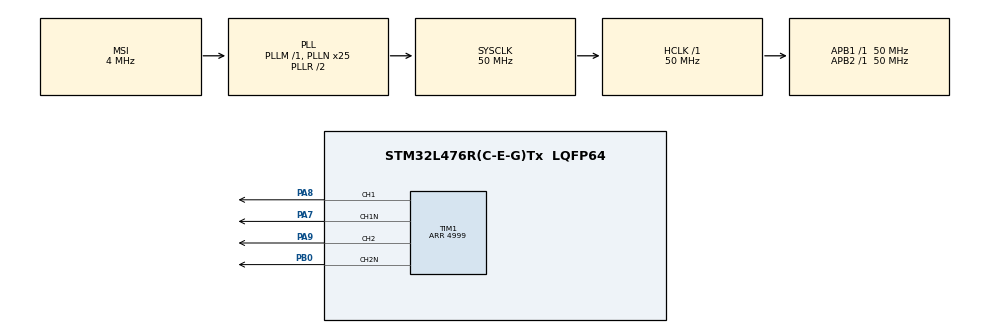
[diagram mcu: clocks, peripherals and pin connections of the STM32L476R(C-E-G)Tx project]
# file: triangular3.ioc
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Mcu.Family=STM32L4
Mcu.Name=STM32L476R(C-E-G)Tx
Mcu.Package=LQFP64
NVIC.PriorityGroup=NVIC_PRIORITYGROUP_4
NVIC.TIM1_UP_TIM16_IRQn=true\:0\:0\:false\:false\:true\:true\:true\:true
PA7.Mode=PWM Generation1 CH1 CH1N
PA7.Signal=TIM1_CH1N
PA8.Signal=S_TIM1_CH1
PA9.Signal=S_TIM1_CH2
PB0.Mode=PWM Generation2 CH2 CH2N
PB0.Signal=TIM1_CH2N
ProjectManager.HeapSize=0x200
ProjectManager.StackSize=0x400
ProjectManager.TargetToolchain=STM32CubeIDE
RCC.ADCFreq_Value=16000000
RCC.AHBFreq_Value=50000000
RCC.APB1Freq_Value=50000000
RCC.APB1TimFreq_Value=50000000
RCC.APB2Freq_Value=50000000
RCC.APB2TimFreq_Value=50000000
RCC.CortexFreq_Value=50000000
RCC.HCLKFreq_Value=50000000
RCC.HSE_VALUE=8000000
RCC.HSI_VALUE=16000000
RCC.LSE_VALUE=32768
RCC.MSI_VALUE=4000000
RCC.PLLN=25
RCC.SYSCLKFreq_VALUE=50000000
RCC.SYSCLKSource=RCC_SYSCLKSOURCE_PLLCLK
RCC.USBFreq_Value=16000000
RCC.VCOOutputFreq_Value=100000000
SH.S_TIM1_CH1.0=TIM1_CH1,PWM Generation1 CH1 CH1N
SH.S_TIM1_CH2.0=TIM1_CH2,PWM Generation2 CH2 CH2N
TIM1.Channel-PWM\ Generation1\ CH1\ CH1N=TIM_CHANNEL_1
TIM1.Channel-PWM\ Generation2\ CH2\ CH2N=TIM_CHANNEL_2
TIM1.DeadTime=50
TIM1.Period=4999
TIM1.TIM_MasterOutputTrigger=TIM_TRGO_UPDATE
TIM1.TIM_MasterOutputTrigger2=TIM_TRGO2_UPDATE
VP_TIM1_VS_ClockSourceINT.Mode=Internal
board=NUCLEO-L476RG

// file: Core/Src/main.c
/* USER CODE BEGIN Header */
/**
 ******************************************************************************
 * @file           : main.c
 * @brief          : Main program body
 ******************************************************************************
 * @attention
 *
 * Copyright (c) 2025 STMicroelectronics.
 * All rights reserved.
 *
 * This software is licensed under terms that can be found in the LICENSE file
 * in the root directory of this software component.
 * If no LICENSE file comes with this software, it is provided AS-IS.
 *
 ******************************************************************************
 */
/* USER CODE END Header */
#include "main.h"

/* USER CODE BEGIN Includes */

/* Variables */

/* USER CODE END Includes */

TIM_HandleTypeDef htim1;

/* USER CODE BEGIN PV */
// To store received char via interrupt
/* USER CODE END PV */

void SystemClock_Config(void);
static void MX_GPIO_Init(void);
static void MX_TIM1_Init(void);

/* USER CODE BEGIN 0 */
void HAL_TIM_PeriodElapsedCallback(TIM_HandleTypeDef *htim)
{
	static uint8_t channel = 1;
	static uint8_t first_run = 1;
	static uint16_t ccr1 = 0;
	static uint16_t ccr2 = 0;
	static int8_t direction1 = 1;
	static int8_t direction2 = 1;

	if (htim->Instance == TIM1)
	{
		// Handle the first run
		if (first_run && ccr1 == 0 && channel == 1)
		{
			// Stop Channel 1
			__HAL_TIM_SET_COMPARE(&htim1, TIM_CHANNEL_1, 0);

			// Start Channel 2
			HAL_TIM_PWM_Start(&htim1, TIM_CHANNEL_2);
			HAL_TIMEx_PWMN_Start(&htim1, TIM_CHANNEL_2);

			// Ensure MOE is enabled after channel switch
			__HAL_TIM_MOE_ENABLE(&htim1);

			channel = 2;
			direction2 = 1; // Start ascending for Channel 2
			first_run = 0; // Clear first run flag
		}

		// Update ccr values based on active channel
		if (channel == 1)
		{
			ccr1 += direction1;

			// Handle upper limit for Channel 1
			if (ccr1 >= 4999)
			{
				ccr1 = 4999;
				direction1 = -1; // Start descending
			}
			// Handle lower limit for Channel 1
			else if (ccr1 <= 0)
			{
				ccr1 = 0;
				direction1 = 1; // Start ascending

				// Set Channel 1 to 0 and switch to Channel 2
				__HAL_TIM_SET_COMPARE(&htim1, TIM_CHANNEL_1, 0);
				HAL_TIM_PWM_Start(&htim1, TIM_CHANNEL_2);
				HAL_TIMEx_PWMN_Start(&htim1, TIM_CHANNEL_2);

				channel = 2;
				// Ensure MOE is enabled after channel switch
				__HAL_TIM_MOE_ENABLE(&htim1);
			}
			else
			{
				// Update Channel 1 compare value
				__HAL_TIM_SET_COMPARE(&htim1, TIM_CHANNEL_1, ccr1);
			}
		}
		else // channel == 2
		{
			ccr2 += direction2;

			// Handle upper limit for Channel 2
			if (ccr2 >= 4999)
			{
				ccr2 = 4999;
				direction2 = -1; // Start descending
			}
			// Handle lower limit for Channel 2
			else if (ccr2 <= 0)
			{
				ccr2 = 0;
				direction2 = 1; // Start ascending

				// Set Channel 2 to 0 and switch to Channel 1
				__HAL_TIM_SET_COMPARE(&htim1, TIM_CHANNEL_2, 0);
				HAL_TIM_PWM_Start(&htim1, TIM_CHANNEL_1);
				HAL_TIMEx_PWMN_Start(&htim1, TIM_CHANNEL_1);

				channel = 1;

				// Ensure MOE is enabled after channel switch
				__HAL_TIM_MOE_ENABLE(&htim1);
			}
			else
			{
				// Update Channel 2 compare value
				__HAL_TIM_SET_COMPARE(&htim1, TIM_CHANNEL_2, ccr2);
			}
		}
	}
}

/* USER CODE END 0 */

int main(void)
{

	/* MCU Configuration--------------------------------------------------------*/

	/* Reset of all peripherals, Initializes the Flash interface and the Systick. */
	HAL_Init();

	/* Configure the system clock */
	SystemClock_Config();

	/* Initialize all configured peripherals */
	MX_GPIO_Init();
	MX_TIM1_Init();
	/* USER CODE BEGIN 2 */
	__HAL_TIM_MOE_ENABLE(&htim1);
	HAL_TIM_PWM_Start(&htim1, TIM_CHANNEL_1);     // Start PWM output
	HAL_TIMEx_PWMN_Start(&htim1, TIM_CHANNEL_1);
	HAL_TIM_Base_Start_IT(&htim1);
	/* USER CODE END 2 */

	/* Infinite loop */
	while (1)
	{

	}
}

void SystemClock_Config(void) {
	RCC_OscInitTypeDef RCC_OscInitStruct = { 0 };
	RCC_ClkInitTypeDef RCC_ClkInitStruct = { 0 };

	/** Configure the main internal regulator output voltage
	 */
	if (HAL_PWREx_ControlVoltageScaling(PWR_REGULATOR_VOLTAGE_SCALE1)
			!= HAL_OK) {
		Error_Handler();
	}

	/** Initializes the RCC Oscillators according to the specified parameters
	 * in the RCC_OscInitTypeDef structure.
	 */
	RCC_OscInitStruct.OscillatorType = RCC_OSCILLATORTYPE_MSI;
	RCC_OscInitStruct.MSIState = RCC_MSI_ON;
	RCC_OscInitStruct.MSICalibrationValue = 0;
	RCC_OscInitStruct.MSIClockRange = RCC_MSIRANGE_6;
	RCC_OscInitStruct.PLL.PLLState = RCC_PLL_ON;
	RCC_OscInitStruct.PLL.PLLSource = RCC_PLLSOURCE_MSI;
	RCC_OscInitStruct.PLL.PLLM = 1;
	RCC_OscInitStruct.PLL.PLLN = 25;
	RCC_OscInitStruct.PLL.PLLP = RCC_PLLP_DIV7;
	RCC_OscInitStruct.PLL.PLLQ = RCC_PLLQ_DIV2;
	RCC_OscInitStruct.PLL.PLLR = RCC_PLLR_DIV2;
	if (HAL_RCC_OscConfig(&RCC_OscInitStruct) != HAL_OK) {
		Error_Handler();
	}

	/** Initializes the CPU, AHB and APB buses clocks
	 */
	RCC_ClkInitStruct.ClockType = RCC_CLOCKTYPE_HCLK | RCC_CLOCKTYPE_SYSCLK
			| RCC_CLOCKTYPE_PCLK1 | RCC_CLOCKTYPE_PCLK2;
	RCC_ClkInitStruct.SYSCLKSource = RCC_SYSCLKSOURCE_PLLCLK;
	RCC_ClkInitStruct.AHBCLKDivider = RCC_SYSCLK_DIV1;
	RCC_ClkInitStruct.APB1CLKDivider = RCC_HCLK_DIV1;
	RCC_ClkInitStruct.APB2CLKDivider = RCC_HCLK_DIV1;

	if (HAL_RCC_ClockConfig(&RCC_ClkInitStruct, FLASH_LATENCY_3) != HAL_OK) {
		Error_Handler();
	}
}

static void MX_TIM1_Init(void) {

	TIM_ClockConfigTypeDef sClockSourceConfig = { 0 };
	TIM_MasterConfigTypeDef sMasterConfig = { 0 };
	TIM_OC_InitTypeDef sConfigOC = { 0 };
	TIM_BreakDeadTimeConfigTypeDef sBreakDeadTimeConfig = { 0 };

	htim1.Instance = TIM1;
	htim1.Init.Prescaler = 0;
	htim1.Init.CounterMode = TIM_COUNTERMODE_UP;
	htim1.Init.Period = 4999;
	htim1.Init.ClockDivision = TIM_CLOCKDIVISION_DIV1;
	htim1.Init.RepetitionCounter = 0;
	htim1.Init.AutoReloadPreload = TIM_AUTORELOAD_PRELOAD_DISABLE;
	if (HAL_TIM_Base_Init(&htim1) != HAL_OK) {
		Error_Handler();
	}
	sClockSourceConfig.ClockSource = TIM_CLOCKSOURCE_INTERNAL;
	if (HAL_TIM_ConfigClockSource(&htim1, &sClockSourceConfig) != HAL_OK) {
		Error_Handler();
	}
	if (HAL_TIM_PWM_Init(&htim1) != HAL_OK) {
		Error_Handler();
	}
	sMasterConfig.MasterOutputTrigger = TIM_TRGO_UPDATE;
	sMasterConfig.MasterOutputTrigger2 = TIM_TRGO2_UPDATE;
	sMasterConfig.MasterSlaveMode = TIM_MASTERSLAVEMODE_DISABLE;
	if (HAL_TIMEx_MasterConfigSynchronization(&htim1, &sMasterConfig)
			!= HAL_OK) {
		Error_Handler();
	}
	sConfigOC.OCMode = TIM_OCMODE_PWM1;
	sConfigOC.Pulse = 0;
	sConfigOC.OCPolarity = TIM_OCPOLARITY_HIGH;
	sConfigOC.OCNPolarity = TIM_OCNPOLARITY_HIGH;
	sConfigOC.OCFastMode = TIM_OCFAST_DISABLE;
	sConfigOC.OCIdleState = TIM_OCIDLESTATE_RESET;
	sConfigOC.OCNIdleState = TIM_OCNIDLESTATE_RESET;
	if (HAL_TIM_PWM_ConfigChannel(&htim1, &sConfigOC, TIM_CHANNEL_1)
			!= HAL_OK) {
		Error_Handler();
	}
	if (HAL_TIM_PWM_ConfigChannel(&htim1, &sConfigOC, TIM_CHANNEL_2)
			!= HAL_OK) {
		Error_Handler();
	}
	sBreakDeadTimeConfig.OffStateRunMode = TIM_OSSR_DISABLE;
	sBreakDeadTimeConfig.OffStateIDLEMode = TIM_OSSI_DISABLE;
	sBreakDeadTimeConfig.LockLevel = TIM_LOCKLEVEL_OFF;
	sBreakDeadTimeConfig.DeadTime = 50;
	sBreakDeadTimeConfig.BreakState = TIM_BREAK_DISABLE;
	sBreakDeadTimeConfig.BreakPolarity = TIM_BREAKPOLARITY_HIGH;
	sBreakDeadTimeConfig.BreakFilter = 0;
	sBreakDeadTimeConfig.Break2State = TIM_BREAK2_DISABLE;
	sBreakDeadTimeConfig.Break2Polarity = TIM_BREAK2POLARITY_HIGH;
	sBreakDeadTimeConfig.Break2Filter = 0;
	sBreakDeadTimeConfig.AutomaticOutput = TIM_AUTOMATICOUTPUT_DISABLE;
	if (HAL_TIMEx_ConfigBreakDeadTime(&htim1, &sBreakDeadTimeConfig)
			!= HAL_OK) {
		Error_Handler();
	}
	HAL_TIM_MspPostInit(&htim1);

}

static void MX_GPIO_Init(void) {

	/* GPIO Ports Clock Enable */
	__HAL_RCC_GPIOA_CLK_ENABLE();
	__HAL_RCC_GPIOB_CLK_ENABLE();

}

void Error_Handler(void) {
	__disable_irq();
	while (1) {
	}
}
